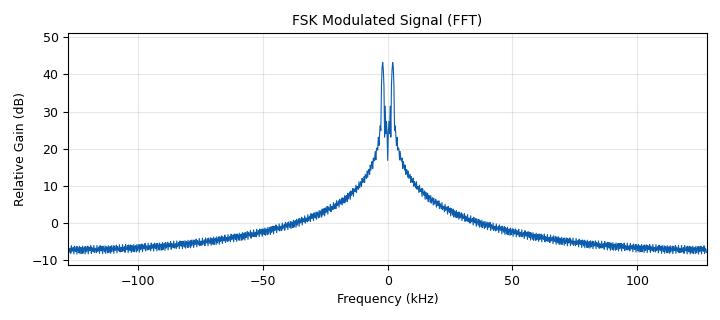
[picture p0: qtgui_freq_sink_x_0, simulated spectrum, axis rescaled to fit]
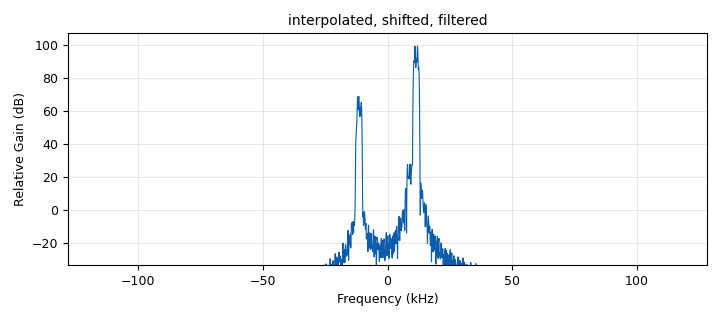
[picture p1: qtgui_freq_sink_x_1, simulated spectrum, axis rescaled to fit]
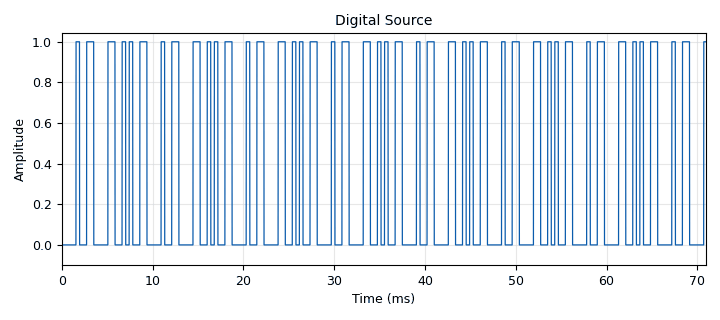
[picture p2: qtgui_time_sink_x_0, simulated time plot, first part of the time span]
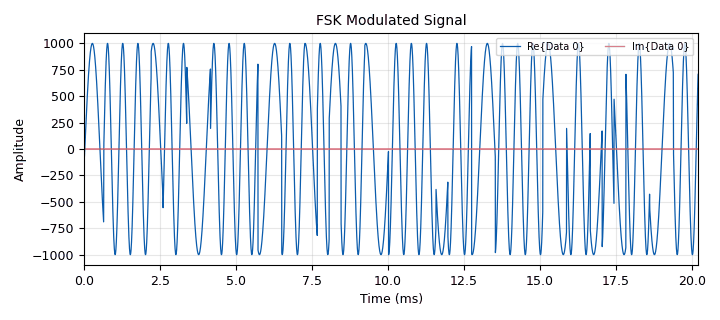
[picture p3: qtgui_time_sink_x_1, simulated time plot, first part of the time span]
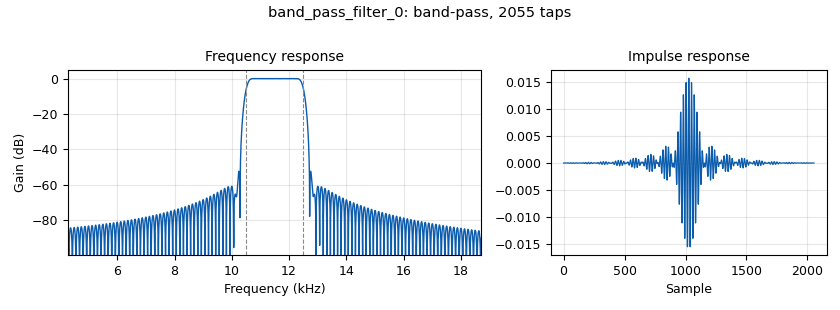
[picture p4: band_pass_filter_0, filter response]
options:
  parameters:
    author: sneak
    generate_options: qt_gui
    id: FSK_transmit
    output_language: python
    title: FSK transmit
  states: {}

blocks:
- name: bit_repeat
  id: variable
  parameters:
    value: '100'
  states: {}
- name: gain
  id: variable
  parameters:
    value: '1000'
  states: {}
- name: num_src_bits
  id: variable
  parameters:
    comment: 8675309 as nibbles
    value: len(src_bits)
  states: {}
- name: samp_rate
  id: variable
  parameters:
    value: '256000'
  states: {}
- name: should_transmit
  id: variable_qtgui_check_box
  parameters:
    'false': '0.0'
    gui_hint: '[0, 0, 1, 1]'
    label: Transmit Message?
    'true': '1.0'
    type: real
    value: '1.0'
  states: {}
- name: src_bits
  id: variable
  parameters:
    comment: 8675309 as nibbles
    value: (1,0,0,0,0,1,1,0,0,1,0,1,0,0,1,1,0,0,0,0,1,0,0,1)
  states: {}
- name: tx_freq
  id: variable
  parameters:
    value: 903.1e6
  states: {}
- name: tx_gain
  id: variable_qtgui_range
  parameters:
    gui_hint: '[0,1,1,2]'
    start: '1'
    step: '1'
    stop: '90'
    value: '50'
    widget: eng_slider
  states: {}
- name: tx_shift
  id: variable
  parameters:
    value: 10e3
  states: {}
- name: upsamp_rate
  id: variable
  parameters:
    value: samp_rate*1
  states: {}
- name: analog_const_source_x_0
  id: analog_const_source_x
  parameters:
    const: '0'
    type: float
  states: {}
- name: analog_const_source_x_0_0
  id: analog_const_source_x
  parameters:
    const: '1'
    type: float
  states: {}
- name: analog_sig_source_x_0_0
  id: analog_sig_source_x
  parameters:
    amp: gain
    comment: 1's
    freq: '1000'
    offset: '0'
    phase: '0'
    samp_rate: samp_rate
    type: float
    waveform: analog.GR_COS_WAVE
  states: {}
- name: analog_sig_source_x_0_0_0
  id: analog_sig_source_x
  parameters:
    amp: gain
    comment: 0's
    freq: '2000'
    offset: '0'
    phase: '0'
    samp_rate: samp_rate
    type: float
    waveform: analog.GR_COS_WAVE
  states: {}
- name: analog_sig_source_x_0_0_0_0
  id: analog_sig_source_x
  parameters:
    amp: '1000'
    comment: 0's
    freq: tx_shift
    offset: '0'
    phase: '0'
    samp_rate: upsamp_rate
    type: complex
    waveform: analog.GR_COS_WAVE
  states: {}
- name: band_pass_filter_0
  id: band_pass_filter
  parameters:
    decim: '1'
    gain: '1'
    high_cutoff_freq: '12500'
    low_cutoff_freq: '10500'
    samp_rate: upsamp_rate
    type: fir_filter_ccf
    width: '300'
    win: window.WIN_HAMMING
  states: {}
- name: blocks_add_xx_0
  id: blocks_add_xx
  parameters:
    comment: |-
      high = 1 kHz
      low = 2 kHz
    type: float
  states: {}
- name: blocks_file_sink_0
  id: blocks_file_sink
  parameters:
    file: /home/jonathan/Desktop/fsk_shifted10k..cplx
    type: complex
  states: {state: disabled}
- name: blocks_float_to_complex_0
  id: blocks_float_to_complex
  parameters: {}
  states: {}
- name: blocks_head_0
  id: blocks_head
  parameters:
    num_items: 2*len(src_bits)*bit_repeat
    type: complex
  states: {state: bypassed}
- name: blocks_multiply_const_vxx_0
  id: blocks_multiply_const_vxx
  parameters:
    comment: TX/no-TX gate
    const: should_transmit
    type: float
  states: {}
- name: blocks_multiply_xx_0
  id: blocks_multiply_xx
  parameters:
    type: complex
  states: {}
- name: blocks_multiply_xx_0_0
  id: blocks_multiply_xx
  parameters:
    type: float
  states: {}
- name: blocks_multiply_xx_0_0_0
  id: blocks_multiply_xx
  parameters:
    type: float
  states: {}
- name: blocks_repeat_0
  id: blocks_repeat
  parameters:
    interp: bit_repeat
    type: float
  states: {}
- name: blocks_sub_xx_0
  id: blocks_sub_xx
  parameters:
    type: float
  states: {}
- name: blocks_throttle2_0
  id: blocks_throttle2
  parameters:
    samples_per_second: upsamp_rate
    type: complex
  states: {state: disabled}
- name: blocks_vector_source_x_0
  id: blocks_vector_source_x
  parameters:
    repeat: 'True'
    type: float
    vector: src_bits
  states: {}
- name: iio_pluto_sink_0
  id: iio_pluto_sink
  parameters:
    attenuation1: 89-tx_gain
    bandwidth: upsamp_rate
    buffer_size: '32768'
    cyclic: 'False'
    filter_source: '''Auto'''
    frequency: int(tx_freq)
    samplerate: upsamp_rate
    type: fc32
  states: {state: disabled}
- name: qtgui_freq_sink_x_0
  id: qtgui_freq_sink_x
  parameters:
    bw: samp_rate
    fc: '0'
    fftsize: '1024'
    gui_hint: 'tab@0: [2,0,1,3]'
    name: FSK Modulated Signal (FFT)
    type: complex
  states: {}
- name: qtgui_freq_sink_x_1
  id: qtgui_freq_sink_x
  parameters:
    bw: upsamp_rate
    fc: '0'
    fftsize: '2048'
    gui_hint: tab@1
    name: interpolated, shifted, filtered
    type: complex
  states: {}
- name: qtgui_time_sink_x_0
  id: qtgui_time_sink_x
  parameters:
    gui_hint: 'tab@0: [1,0,1,1]'
    name: Digital Source
    size: '64000'
    srate: samp_rate
    tr_delay: '100e-6'
    type: float
    ymin: '-0.1'
  states: {}
- name: qtgui_time_sink_x_1
  id: qtgui_time_sink_x
  parameters:
    gui_hint: 'tab@0: [1,1,1,2]'
    name: FSK Modulated Signal
    size: '16384'
    srate: samp_rate
    tr_delay: '0.1e-3'
    tr_level: '500'
    tr_mode: qtgui.TRIG_MODE_AUTO
    type: complex
    ymax: '1100'
    ymin: '-1100'
  states: {}
- name: rational_resampler_xxx_0
  id: rational_resampler_xxx
  parameters:
    decim: samp_rate
    interp: upsamp_rate
    type: ccc
  states: {state: bypassed}
- name: tab
  id: qtgui_tab_widget
  parameters:
    label0: D/A
    label1: TX-ready data
    num_tabs: '2'
  states: {}
- name: uhd_usrp_sink_0
  id: uhd_usrp_sink
  parameters:
    ant0: '"TX/RX"'
    center_freq0: int(tx_freq)
    gain0: tx_gain
    samp_rate: upsamp_rate
    sync: none
    type: fc32
  states: {}
- name: virtual_sink_0
  id: virtual_sink
  parameters:
    stream_id: fsk_mod_source
  states: {}
- name: virtual_sink_1
  id: virtual_sink
  parameters:
    stream_id: baseband
  states: {}
- name: virtual_sink_1_0
  id: virtual_sink
  parameters:
    stream_id: repeated_bits
  states: {}
- name: virtual_source_0_0
  id: virtual_source
  parameters:
    stream_id: fsk_mod_source
  states: {}
- name: virtual_source_1
  id: virtual_source
  parameters:
    stream_id: baseband
  states: {}
- name: virtual_source_2
  id: virtual_source
  parameters:
    stream_id: repeated_bits
  states: {}
- name: virtual_source_2_0
  id: virtual_source
  parameters:
    stream_id: repeated_bits
  states: {}

connections:
- [analog_const_source_x_0, '0', blocks_float_to_complex_0, '1']
- [analog_const_source_x_0_0, '0', blocks_sub_xx_0, '0']
- [analog_sig_source_x_0_0, '0', blocks_multiply_xx_0_0, '1']
- [analog_sig_source_x_0_0_0, '0', blocks_multiply_xx_0_0_0, '1']
- [analog_sig_source_x_0_0_0_0, '0', blocks_multiply_xx_0, '1']
- [band_pass_filter_0, '0', blocks_head_0, '0']
- [band_pass_filter_0, '0', iio_pluto_sink_0, '0']
- [band_pass_filter_0, '0', qtgui_freq_sink_x_1, '0']
- [band_pass_filter_0, '0', uhd_usrp_sink_0, '0']
- [blocks_add_xx_0, '0', blocks_multiply_const_vxx_0, '0']
- [blocks_float_to_complex_0, '0', qtgui_freq_sink_x_0, '0']
- [blocks_float_to_complex_0, '0', qtgui_time_sink_x_1, '0']
- [blocks_float_to_complex_0, '0', virtual_sink_0, '0']
- [blocks_head_0, '0', blocks_file_sink_0, '0']
- [blocks_head_0, '0', blocks_throttle2_0, '0']
- [blocks_multiply_const_vxx_0, '0', virtual_sink_1, '0']
- [blocks_multiply_xx_0, '0', band_pass_filter_0, '0']
- [blocks_multiply_xx_0_0, '0', blocks_add_xx_0, '0']
- [blocks_multiply_xx_0_0_0, '0', blocks_add_xx_0, '1']
- [blocks_repeat_0, '0', qtgui_time_sink_x_0, '0']
- [blocks_repeat_0, '0', virtual_sink_1_0, '0']
- [blocks_sub_xx_0, '0', blocks_multiply_xx_0_0_0, '0']
- [blocks_vector_source_x_0, '0', blocks_repeat_0, '0']
- [rational_resampler_xxx_0, '0', blocks_multiply_xx_0, '0']
- [virtual_source_0_0, '0', rational_resampler_xxx_0, '0']
- [virtual_source_1, '0', blocks_float_to_complex_0, '0']
- [virtual_source_2, '0', blocks_multiply_xx_0_0, '0']
- [virtual_source_2_0, '0', blocks_sub_xx_0, '1']

metadata:
  file_format: 1
  grc_version: 3.10.9.2
